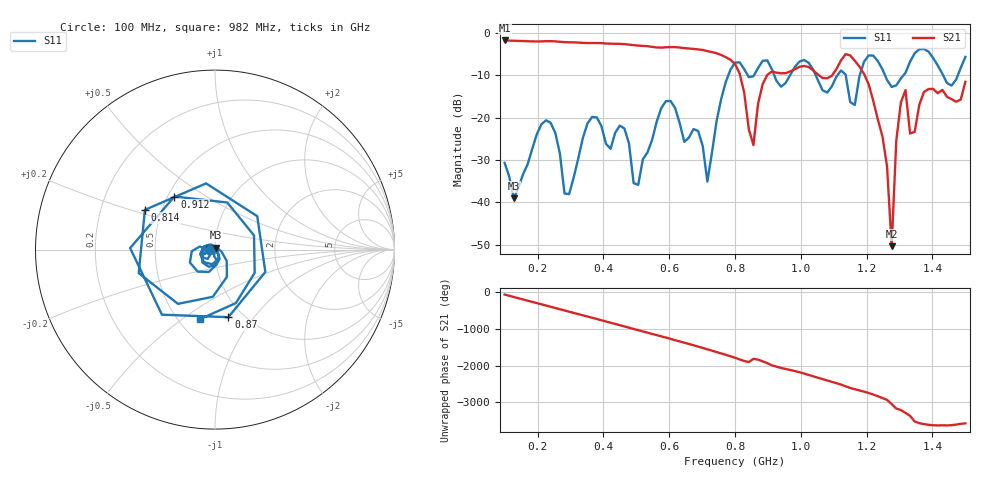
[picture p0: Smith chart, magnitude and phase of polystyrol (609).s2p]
! NanoVNA-App
! Date: 2025-09-25 15:34:37
! Start: 100MHz Stop: 1,5GHz Points: 101
! S-Parameter data: F S11 S21 S12 S22
# Hz S RI R 50
!  Frequency  S11_Real  S11_Imag  S21_Real  S21_Imag  S12_Real  S12_Imag  S22_Real  S22_Imag
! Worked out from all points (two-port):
!   101 points, 100 MHz to 1.5 GHz, reference 50 ohm
!   highest |S21| = -1.80 dB at 100 MHz (marker M1); lowest = -50.4 dB at 1.276 GHz (marker M2)
!   |S21| within 3 dB of the highest: start of sweep to 743.1 MHz
!   lowest |S11| = -39.1 dB at 128 MHz (marker M3), VSWR 1.02, Z = 50.3 + j1.06 ohm
!   |S11| at or under -10 dB: start of sweep to 779.8 MHz; 1.045 GHz to 1.112 GHz (66.43 MHz wide, 6.16 % of centre); 1.256 GHz to 1.312 GHz (56.39 MHz wide, 4.39 % of centre) (the widest 3 of 7)
!   S12 and S22 are empty: the file has one direction only
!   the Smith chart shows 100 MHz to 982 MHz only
!   S11 on the Smith chart (normalised r, x): 100 MHz: 0.94, -0.01; 814 MHz: 0.40, +0.22; 870 MHz: 0.85, -0.75; 912 MHz: 0.54, +0.37; 982 MHz: 0.63, -0.58
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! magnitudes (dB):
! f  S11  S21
! 100 MHz  -30.7  -1.8
! 128 MHz  -39.1  -1.9
! 212 MHz  -21.6  -2.0
! 282 MHz  -37.9  -2.2
! 338 MHz  -24.8  -2.4
! 506 MHz  -35.9  -3.0
! 576 MHz  -17.8  -3.5
! 716 MHz  -35.1  -4.3
! 800 MHz  -7.0  -7.3
! 814 MHz  -7.0  -9.6
! 856 MHz  -10.3  -26.5
! 870 MHz  -8.3  -16.7
! 912 MHz  -8.6  -9.1
! 982 MHz  -8.0  -8.6
! 1.038 GHz  -8.7  -8.9
! 1.164 GHz  -17.0  -6.6
! 1.206 GHz  -5.3  -12.1
! 1.262 GHz  -11.1  -31.6
! 1.276 GHz  -12.8  -50.4
! 1.29 GHz  -12.4  -25.5
! 1.318 GHz  -9.4  -13.5
! 1.5 GHz  -5.7  -11.6
